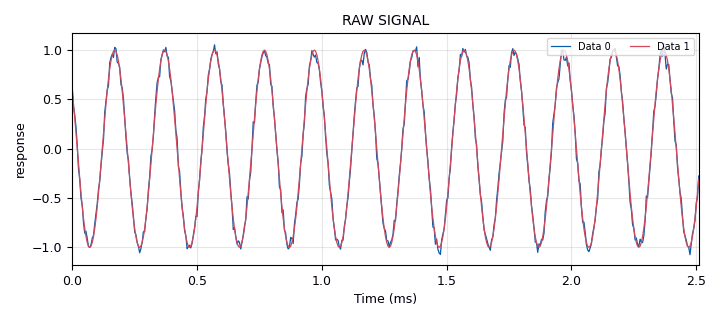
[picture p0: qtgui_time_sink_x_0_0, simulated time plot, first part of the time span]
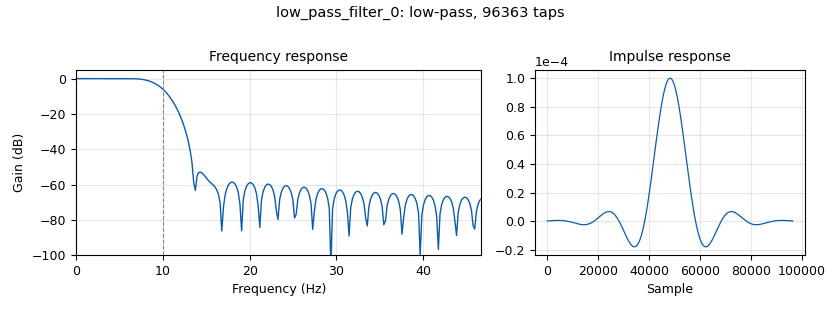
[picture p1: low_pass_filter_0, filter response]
<?xml version='1.0' encoding='utf-8'?>
<?grc format='1' created='3.7.12'?>
<flow_graph>
<block>
<key>options</key>
<param><key>id</key><value>top_block</value></param>
<param><key>generate_options</key><value>qt_gui</value></param>
<param><key>max_nouts</key><value> 0</value></param>
</block>
<block>
<key>variable</key>
<param><key>id</key><value>ampl</value></param>
<param><key>value</key><value>1</value></param>
</block>
<block>
<key>variable</key>
<param><key>id</key><value>decim</value></param>
<param><key>value</key><value>5</value></param>
</block>
<block>
<key>variable</key>
<param><key>id</key><value>dly</value></param>
<param><key>value</key><value>0</value></param>
</block>
<block>
<key>variable</key>
<param><key>id</key><value>fq_phas</value></param>
<param><key>value</key><value>1</value></param>
</block>
<block>
<key>variable_qtgui_range</key>
<param><key>id</key><value>freq</value></param>
<param><key>value</key><value>5000</value></param>
<param><key>gui_hint</key><value>0,0</value></param>
<param><key>label</key><value>RF Frequency [Hz]</value></param>
<param><key>orient</key><value>Qt.Horizontal</value></param>
<param><key>start</key><value>0</value></param>
<param><key>step</key><value>1e1</value></param>
<param><key>stop</key><value>1e4</value></param>
</block>
<block>
<key>variable</key>
<param><key>id</key><value>samp_rate</value></param>
<param><key>value</key><value>200000</value></param>
</block>
<block>
<key>analog_noise_source_x</key>
<param><key>id</key><value>analog_noise_source_x_0_0_0</value></param>
<param><key>amp</key><value>0.04</value></param>
<param><key>noise_type</key><value>analog.GR_GAUSSIAN</value></param>
<param><key>type</key><value>float</value></param>
<param><key>seed</key><value>0</value></param>
</block>
<block>
<key>analog_sig_source_x</key>
<param><key>id</key><value>analog_sig_source_x_0_0_0_1</value></param>
<param><key>amp</key><value>ampl</value></param>
<param><key>freq</key><value>freq</value></param>
<param><key>offset</key><value>0</value></param>
<param><key>type</key><value>float</value></param>
<param><key>samp_rate</key><value>samp_rate</value></param>
<param><key>waveform</key><value>analog.GR_SIN_WAVE</value></param>
</block>
<block>
<key>blocks_add_xx</key>
<param><key>id</key><value>blocks_add_xx_0_0</value></param>
<param><key>type</key><value>float</value></param>
</block>
<block>
<key>blocks_complex_to_magphase</key>
<param><key>id</key><value>blocks_complex_to_magphase_0</value></param>
</block>
<block>
<key>blocks_delay</key>
<param><key>id</key><value>blocks_delay_0</value></param>
<param><key>delay</key><value>dly</value></param>
<param><key>type</key><value>float</value></param>
</block>
<block>
<key>blocks_throttle</key>
<param><key>id</key><value>blocks_throttle_0_0</value></param>
<param><key>samples_per_second</key><value>samp_rate</value></param>
<param><key>type</key><value>float</value></param>
</block>
<block>
<key>digitizers_amplitude_phase_adjuster</key>
<param><key>id</key><value>digitizers_amplitude_phase_adjuster_0</value></param>
<param><key>ampl_cal</key><value>fq_phas</value></param>
<param><key>phi_fq_usr</key><value>0.0</value></param>
<param><key>phi_usr</key><value>0.0</value></param>
</block>
<block>
<key>digitizers_block_amplitude_and_phase</key>
<param><key>id</key><value>digitizers_block_amplitude_and_phase_0</value></param>
<param><key>cutoff</key><value>8000</value></param>
<param><key>decim</key><value>decim</value></param>
<param><key>delay</key><value>(1.0*dly)/samp_rate</value></param>
<param><key>gain</key><value>1</value></param>
<param><key>hil_win</key><value>10240</value></param>
<param><key>samp_rate</key><value>samp_rate</value></param>
<param><key>tr_width</key><value>80</value></param>
</block>
<block>
<key>digitizers_freq_estimator</key>
<param><key>id</key><value>digitizers_freq_estimator_0</value></param>
<param><key>decim</key><value>decim</value></param>
<param><key>freq_window_size</key><value>5</value></param>
<param><key>samp_rate</key><value>samp_rate</value></param>
<param><key>sig_window_size</key><value>5</value></param>
</block>
<block>
<key>low_pass_filter</key>
<param><key>id</key><value>low_pass_filter_0</value></param>
<param><key>cutoff_freq</key><value>10</value></param>
<param><key>decim</key><value>1</value></param>
<param><key>type</key><value>fir_filter_fff</value></param>
<param><key>gain</key><value>1</value></param>
<param><key>samp_rate</key><value>samp_rate</value></param>
<param><key>width</key><value>5</value></param>
<param><key>win</key><value>firdes.WIN_HAMMING</value></param>
</block>
<block>
<key>qtgui_time_sink_x</key>
<param><key>id</key><value>qtgui_time_sink_x_0</value></param>
<param><key>autoscale</key><value>True</value></param>
<param><key>entags</key><value>False</value></param>
<param><key>gui_hint</key><value>2,0</value></param>
<param><key>grid</key><value>True</value></param>
<param><key>color1</key><value>"blue"</value></param>
<param><key>label1</key><value></value></param>
<param><key>name</key><value>AMPLITUDE</value></param>
<param><key>size</key><value>1024</value></param>
<param><key>srate</key><value>samp_rate</value></param>
<param><key>type</key><value>float</value></param>
<param><key>ylabel</key><value>response</value></param>
</block>
<block>
<key>qtgui_time_sink_x</key>
<param><key>id</key><value>qtgui_time_sink_x_0_0</value></param>
<param><key>autoscale</key><value>True</value></param>
<param><key>entags</key><value>False</value></param>
<param><key>gui_hint</key><value>1,0</value></param>
<param><key>color1</key><value>"blue"</value></param>
<param><key>label1</key><value></value></param>
<param><key>color2</key><value>"red"</value></param>
<param><key>label2</key><value></value></param>
<param><key>name</key><value>RAW SIGNAL</value></param>
<param><key>nconnections</key><value>2</value></param>
<param><key>size</key><value>1024</value></param>
<param><key>srate</key><value>samp_rate</value></param>
<param><key>type</key><value>float</value></param>
<param><key>update_time</key><value>0.1</value></param>
<param><key>ylabel</key><value>response</value></param>
<param><key>ymax</key><value>5</value></param>
</block>
<block>
<key>qtgui_time_sink_x</key>
<param><key>id</key><value>qtgui_time_sink_x_0_1</value></param>
<param><key>entags</key><value>False</value></param>
<param><key>gui_hint</key><value>1,1</value></param>
<param><key>grid</key><value>True</value></param>
<param><key>color1</key><value>"blue"</value></param>
<param><key>label1</key><value></value></param>
<param><key>color2</key><value>"red"</value></param>
<param><key>label2</key><value></value></param>
<param><key>name</key><value>FREQUENCY</value></param>
<param><key>nconnections</key><value>2</value></param>
<param><key>size</key><value>8192</value></param>
<param><key>srate</key><value>samp_rate</value></param>
<param><key>type</key><value>float</value></param>
<param><key>ylabel</key><value>response</value></param>
<param><key>ymax</key><value>samp_rate/2</value></param>
<param><key>ymin</key><value>0</value></param>
</block>
<block>
<key>qtgui_time_sink_x</key>
<param><key>id</key><value>qtgui_time_sink_x_0_2</value></param>
<param><key>gui_hint</key><value>2,1</value></param>
<param><key>grid</key><value>True</value></param>
<param><key>color1</key><value>"blue"</value></param>
<param><key>label1</key><value></value></param>
<param><key>name</key><value>PHASE</value></param>
<param><key>size</key><value>1024</value></param>
<param><key>srate</key><value>samp_rate</value></param>
<param><key>type</key><value>float</value></param>
<param><key>ylabel</key><value>Deg</value></param>
<param><key>ymax</key><value>200</value></param>
<param><key>ymin</key><value>-200</value></param>
</block>
<connection><source_block_id>analog_noise_source_x_0_0_0</source_block_id><sink_block_id>blocks_add_xx_0_0</sink_block_id><source_key>0</source_key><sink_key>0</sink_key></connection>
<connection><source_block_id>analog_sig_source_x_0_0_0_1</source_block_id><sink_block_id>blocks_throttle_0_0</sink_block_id><source_key>0</source_key><sink_key>0</sink_key></connection>
<connection><source_block_id>blocks_add_xx_0_0</source_block_id><sink_block_id>blocks_delay_0</sink_block_id><source_key>0</source_key><sink_key>0</sink_key></connection>
<connection><source_block_id>blocks_add_xx_0_0</source_block_id><sink_block_id>digitizers_block_amplitude_and_phase_0</sink_block_id><source_key>0</source_key><sink_key>0</sink_key></connection>
<connection><source_block_id>blocks_add_xx_0_0</source_block_id><sink_block_id>digitizers_freq_estimator_0</sink_block_id><source_key>0</source_key><sink_key>0</sink_key></connection>
<connection><source_block_id>blocks_complex_to_magphase_0</source_block_id><sink_block_id>digitizers_amplitude_phase_adjuster_0</sink_block_id><source_key>0</source_key><sink_key>0</sink_key></connection>
<connection><source_block_id>blocks_complex_to_magphase_0</source_block_id><sink_block_id>digitizers_amplitude_phase_adjuster_0</sink_block_id><source_key>1</source_key><sink_key>1</sink_key></connection>
<connection><source_block_id>blocks_delay_0</source_block_id><sink_block_id>qtgui_time_sink_x_0_0</sink_block_id><source_key>0</source_key><sink_key>0</sink_key></connection>
<connection><source_block_id>blocks_throttle_0_0</source_block_id><sink_block_id>blocks_add_xx_0_0</sink_block_id><source_key>0</source_key><sink_key>1</sink_key></connection>
<connection><source_block_id>blocks_throttle_0_0</source_block_id><sink_block_id>digitizers_block_amplitude_and_phase_0</sink_block_id><source_key>0</source_key><sink_key>1</sink_key></connection>
<connection><source_block_id>blocks_throttle_0_0</source_block_id><sink_block_id>qtgui_time_sink_x_0_0</sink_block_id><source_key>0</source_key><sink_key>1</sink_key></connection>
<connection><source_block_id>digitizers_amplitude_phase_adjuster_0</source_block_id><sink_block_id>qtgui_time_sink_x_0</sink_block_id><source_key>0</source_key><sink_key>0</sink_key></connection>
<connection><source_block_id>digitizers_amplitude_phase_adjuster_0</source_block_id><sink_block_id>qtgui_time_sink_x_0_2</sink_block_id><source_key>1</source_key><sink_key>0</sink_key></connection>
<connection><source_block_id>digitizers_block_amplitude_and_phase_0</source_block_id><sink_block_id>blocks_complex_to_magphase_0</sink_block_id><source_key>0</source_key><sink_key>0</sink_key></connection>
<connection><source_block_id>digitizers_freq_estimator_0</source_block_id><sink_block_id>digitizers_amplitude_phase_adjuster_0</sink_block_id><source_key>0</source_key><sink_key>2</sink_key></connection>
<connection><source_block_id>digitizers_freq_estimator_0</source_block_id><sink_block_id>low_pass_filter_0</sink_block_id><source_key>0</source_key><sink_key>0</sink_key></connection>
<connection><source_block_id>digitizers_freq_estimator_0</source_block_id><sink_block_id>qtgui_time_sink_x_0_1</sink_block_id><source_key>0</source_key><sink_key>0</sink_key></connection>
<connection><source_block_id>low_pass_filter_0</source_block_id><sink_block_id>qtgui_time_sink_x_0_1</sink_block_id><source_key>0</source_key><sink_key>1</sink_key></connection>
</flow_graph>
